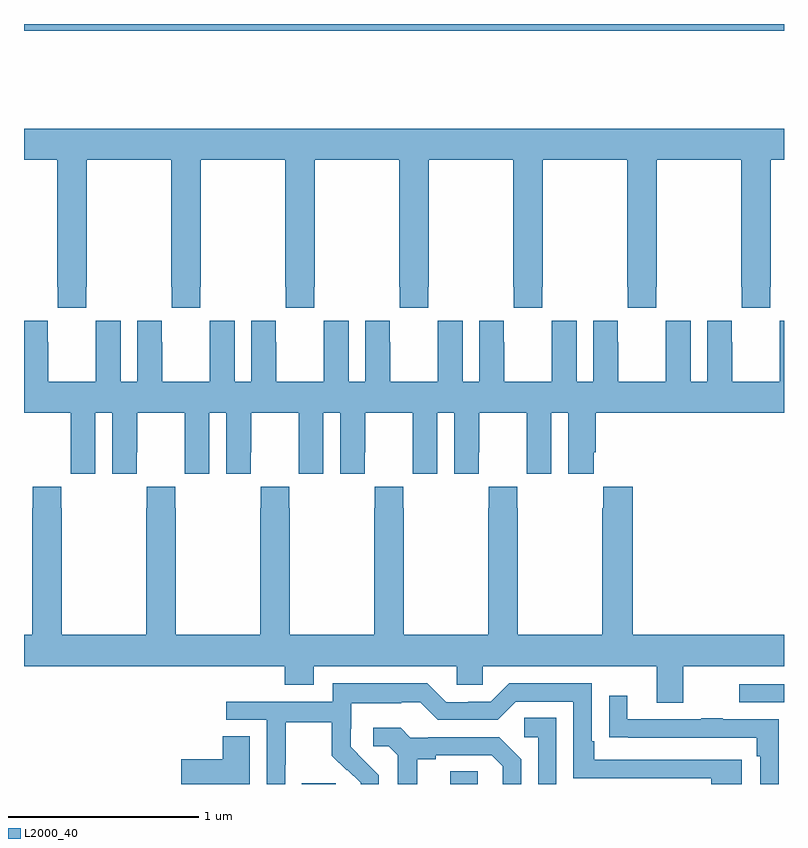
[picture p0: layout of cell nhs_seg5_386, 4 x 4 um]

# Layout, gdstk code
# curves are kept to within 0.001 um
import gdstk
lib = gdstk.Library(unit=1e-6, precision=1e-09)
def R(c, l, rs):  # rectangles x0, y0, x1, y1
    for r in rs: c.add(gdstk.rectangle(r[:2], r[2:], *l))
def P(c, l, *ps):  # polygons
    for p in ps: c.add(gdstk.Polygon(p, *l))
L2000_40 = (2000, 40)

nhs_seg5_386 = lib.new_cell('nhs_seg5_386')
R(nhs_seg5_386, L2000_40, [(136.463,862.799,136.642,862.803), (137.243,862.799,137.388,862.865), (138.765,863.229,139,863.325), (135,866.764,139,866.799)])
P(nhs_seg5_386, L2000_40, [(135.327,865.417),(135.33,865.417),(135.33,866.084),(135.775,866.084),(135.775,865.417),(135.777,865.417),(135.777,865.305),(135.927,865.305),(135.927,865.417),(135.93,865.417),(135.93,866.084),(136.375,866.084),(136.375,865.417),(136.377,865.417),(136.377,865.305),(136.527,865.305),(136.527,865.417),(136.53,865.417),(136.53,866.084),(136.975,866.084),(136.975,865.417),(136.977,865.417),(136.977,865.305),(137.127,865.305),(137.127,865.417),(137.13,865.417),(137.13,866.084),(137.575,866.084),(137.575,865.417),(137.577,865.417),(137.577,865.305),(137.727,865.305),(137.727,865.417),(137.73,865.417),(137.73,866.084),(138.175,866.084),(138.175,865.417),(138.177,865.417),(138.177,865.305),(138.327,865.305),(138.327,865.417),(138.33,865.417),(138.33,866.084),(138.775,866.084),(138.775,865.417),(138.777,865.417),(138.777,865.305),(138.927,865.305),(138.927,865.417),(138.93,865.417),(138.93,866.084),(139,866.084),(139,866.248),(135,866.248),(135,866.084),(135.175,866.084),(135.175,865.417),(135.177,865.417),(135.177,865.305),(135.327,865.305)],
  [(136.664,864.432),(136.794,864.432),(136.794,864.544),(136.795,864.544),(136.795,864.752),(137.045,864.752),(137.045,864.544),(137.046,864.544),(137.046,864.432),(137.176,864.432),(137.176,864.752),(137.264,864.752),(137.264,864.432),(137.394,864.432),(137.394,864.544),(137.395,864.544),(137.395,864.752),(137.645,864.752),(137.645,864.544),(137.646,864.544),(137.646,864.432),(137.776,864.432),(137.776,864.752),(137.864,864.752),(137.864,864.432),(137.998,864.432),(137.998,864.544),(138.008,864.544),(138.008,864.752),(139,864.752),(139,865.237),(138.978,865.237),(138.978,865.124),(138.977,865.124),(138.977,864.916),(138.727,864.916),(138.727,865.124),(138.726,865.124),(138.726,865.237),(138.596,865.237),(138.596,864.916),(138.508,864.916),(138.508,865.237),(138.378,865.237),(138.378,865.124),(138.377,865.124),(138.377,864.916),(138.127,864.916),(138.127,865.124),(138.126,865.124),(138.126,865.237),(137.996,865.237),(137.996,864.916),(137.908,864.916),(137.908,865.237),(137.778,865.237),(137.778,865.124),(137.777,865.124),(137.777,864.916),(137.527,864.916),(137.527,865.124),(137.526,865.124),(137.526,865.237),(137.396,865.237),(137.396,864.916),(137.308,864.916),(137.308,865.237),(137.178,865.237),(137.178,865.124),(137.177,865.124),(137.177,864.916),(136.927,864.916),(136.927,865.124),(136.926,865.124),(136.926,865.237),(136.796,865.237),(136.796,864.916),(136.708,864.916),(136.708,865.237),(136.578,865.237),(136.578,865.124),(136.577,865.124),(136.577,864.916),(136.327,864.916),(136.327,865.124),(136.326,865.124),(136.326,865.237),(136.196,865.237),(136.196,864.916),(136.108,864.916),(136.108,865.237),(135.978,865.237),(135.978,865.124),(135.977,865.124),(135.977,864.916),(135.727,864.916),(135.727,865.124),(135.726,865.124),(135.726,865.237),(135.596,865.237),(135.596,864.916),(135.508,864.916),(135.508,865.237),(135.378,865.237),(135.378,865.124),(135.377,865.124),(135.377,864.916),(135.127,864.916),(135.127,865.124),(135.126,865.124),(135.126,865.237),(135,865.237),(135,864.752),(135.245,864.752),(135.245,864.544),(135.246,864.544),(135.246,864.432),(135.376,864.432),(135.376,864.752),(135.464,864.752),(135.464,864.432),(135.594,864.432),(135.594,864.544),(135.595,864.544),(135.595,864.752),(135.845,864.752),(135.845,864.544),(135.846,864.544),(135.846,864.432),(135.976,864.432),(135.976,864.752),(136.064,864.752),(136.064,864.432),(136.194,864.432),(136.194,864.544),(136.195,864.544),(136.195,864.752),(136.445,864.752),(136.445,864.544),(136.446,864.544),(136.446,864.432),(136.576,864.432),(136.576,864.752),(136.664,864.752)],
  [(138.469,863.42),(139,863.42),(139,863.584),(138.203,863.584),(138.203,864.364),(138.049,864.364),(138.049,864.251),(138.043,864.251),(138.043,863.584),(137.598,863.584),(137.598,864.251),(137.595,864.251),(137.595,864.364),(137.445,864.364),(137.445,864.251),(137.443,864.251),(137.443,863.584),(136.998,863.584),(136.998,864.251),(136.995,864.251),(136.995,864.364),(136.845,864.364),(136.845,864.251),(136.843,864.251),(136.843,863.584),(136.398,863.584),(136.398,864.251),(136.395,864.251),(136.395,864.364),(136.245,864.364),(136.245,864.251),(136.243,864.251),(136.243,863.584),(135.798,863.584),(135.798,864.251),(135.795,864.251),(135.795,864.364),(135.645,864.364),(135.645,864.251),(135.643,864.251),(135.643,863.584),(135.198,863.584),(135.198,864.251),(135.195,864.251),(135.195,864.364),(135.045,864.364),(135.045,864.251),(135.043,864.251),(135.043,863.584),(135,863.584),(135,863.42),(136.373,863.42),(136.373,863.321),(136.525,863.321),(136.525,863.42),(137.277,863.42),(137.277,863.322),(137.415,863.322),(137.415,863.42),(138.329,863.42),(138.329,863.226),(138.469,863.226)],
  [(136.374,862.9),(136.377,862.9),(136.377,863.124),(136.621,863.124),(136.621,862.949),(136.698,862.872),(136.701,862.875),(136.772,862.805),(136.772,862.799),(136.866,862.799),(136.866,862.846),(136.72,862.994),(136.72,863.091),(136.722,863.091),(136.722,863.225),(136.985,863.225),(136.985,863.229),(137.085,863.229),(137.178,863.136),(137.493,863.136),(137.589,863.232),(137.892,863.232),(137.892,862.83),(138.617,862.83),(138.617,862.799),(138.778,862.799),(138.778,862.926),(138.001,862.926),(138.001,863.023),(137.988,863.023),(137.988,863.328),(137.553,863.328),(137.457,863.232),(137.339,863.232),(137.339,863.229),(137.223,863.229),(137.123,863.329),(136.626,863.329),(136.626,863.232),(136.065,863.232),(136.065,863.136),(136.278,863.136),(136.278,862.799),(136.374,862.799)],
  [(138.972,863.139),(138.677,863.139),(138.677,863.144),(138.565,863.144),(138.565,863.139),(138.175,863.139),(138.175,863.263),(138.079,863.263),(138.079,863.044),(138.181,863.044),(138.181,863.043),(138.856,863.043),(138.856,862.946),(138.876,862.946),(138.876,862.799),(138.972,862.799)],
  [(137.802,863.147),(137.634,863.147),(137.634,863.046),(137.706,863.046),(137.706,862.799),(137.802,862.799)],
  [(137.071,862.928),(137.167,862.928),(137.167,862.95),(137.462,862.95),(137.519,862.893),(137.519,862.799),(137.616,862.799),(137.616,862.93),(137.5,863.046),(137.128,863.046),(137.128,863.043),(137.034,863.043),(136.982,863.095),(136.839,863.095),(136.839,862.998),(136.92,862.998),(136.967,862.951),(136.967,862.799),(137.071,862.799)],
  [(136.189,863.051),(136.046,863.051),(136.046,862.928),(135.828,862.928),(135.828,862.799),(136.189,862.799)])

lib.write_gds('nhs_seg5_386.gds')
